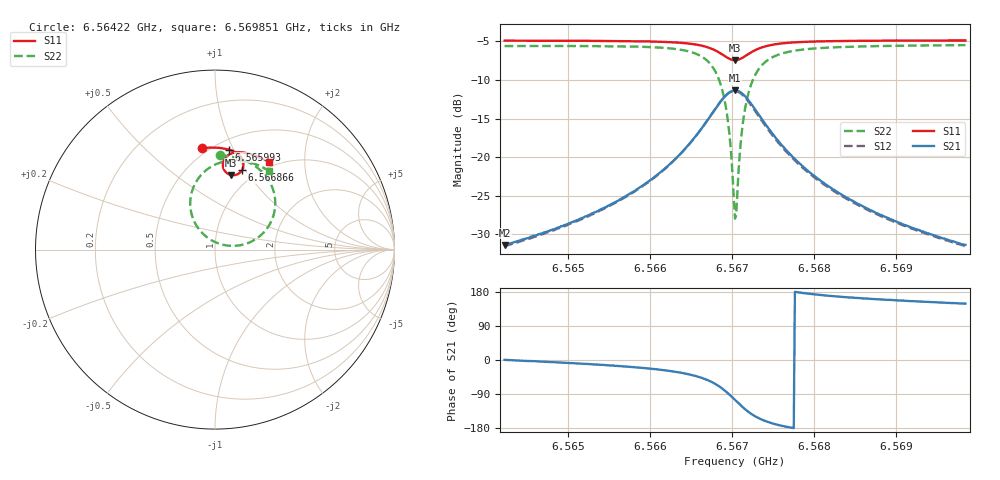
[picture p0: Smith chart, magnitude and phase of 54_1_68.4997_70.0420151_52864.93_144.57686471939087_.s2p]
#  HZ  S  RI  R  50.00
! Rohde & Schwarz Vector Network Analyzer
! Rohde-Schwarz,ZNB20-2Port,1311601062101988,3.16
! Created: UTC 3/20/2024, 5:06:06 PM
! freq[Hz]  re:S11  im:S11  re:S21  im:S21  re:S12  im:S12  re:S22  im:S22
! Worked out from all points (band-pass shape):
!   401 points, 6.56422 GHz to 6.569851 GHz, reference 50 ohm
!   highest |S21| = -11.34 dB at 6.567035 GHz (marker M1); lowest = -31.4 dB at 6.56422 GHz (marker M2)
!   |S21| within 3 dB of the highest: 6.566755 GHz to 6.567317 GHz (562.4 kHz wide, 0.00856 % of centre)
!   lowest |S11| = -7.4 dB at 6.567035 GHz (marker M3), VSWR 2.48, Z = 40.9 + j41.5 ohm
!   |S11| at or under -10 dB: nowhere
!   |S22| runs from -27.9 to -5.5 dB; largest |S21 - S12| = 0.012
!   S11 on the Smith chart (normalised r, x): 6.56422 GHz: 0.46, +0.77; 6.565993 GHz: 0.59, +0.96; 6.566866 GHz: 0.85, +0.97; 6.569851 GHz: 0.93, +1.34
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6.5642195e9  -0.0734 0.5643  0.0271 0.000212  0.0266 -0.000404  0.0259 0.5246
6.5651628e9  0.00327 0.5679  0.0399 -0.00688  0.039 -0.00733  0.1134 0.5128
6.5659933e9  0.0794 0.5566  0.0653 -0.0273  0.0642 -0.0281  0.2168 0.4698
6.566106e9  0.0909 0.5528  0.071 -0.0337  0.07 -0.0344  0.2349 0.4569
6.5664016e9  0.1241 0.5355  0.0906 -0.0626  0.0889 -0.0638  0.2908 0.3996
6.5666268e9  0.1499 0.5067  0.1047 -0.1125  0.1024 -0.1145  0.3317 0.3034
6.5667676e9  0.1586 0.4739  0.0982 -0.1699  0.094 -0.1728  0.3269 0.1941
6.5668662e9  0.1505 0.4433  0.0668 -0.2221  0.0598 -0.2249  0.2719 0.0959
6.5669084e9  0.1407 0.4306  0.0417 -0.243  0.033 -0.245  0.2259 0.0576
6.5669506e9  0.1263 0.4204  0.00873 -0.2591  -0.00165 -0.2591  0.1655 0.0302
6.5669788e9  0.1148 0.416  -0.0171 -0.2649  -0.028 -0.2633  0.1191 0.0217
6.567021e9  0.0956 0.4146  -0.0583 -0.2641  -0.0693 -0.2596  0.0462 0.0263
6.5670351e9  0.0891 0.4155  -0.0719 -0.2612  -0.0829 -0.2556  0.0224 0.0333
6.5670633e9  0.0766 0.4198  -0.0979 -0.2512  -0.1079 -0.2438  -0.0223 0.0537
6.5671055e9  0.0612 0.4305  -0.1313 -0.2278  -0.1391 -0.2184  -0.0772 0.0986
6.5671477e9  0.0502 0.4451  -0.1552 -0.1982  -0.1604 -0.1878  -0.1141 0.1535
6.567204e9  0.0439 0.4661  -0.1719 -0.1566  -0.174 -0.1463  -0.1363 0.228
6.5672744e9  0.0463 0.4896  -0.1746 -0.1107  -0.1739 -0.1018  -0.1325 0.3082
6.5675278e9  0.0846 0.5327  -0.1324 -0.0245  -0.1295 -0.0207  -0.0364 0.4521
6.5679783e9  0.1452 0.5422  -0.0772 0.00833  -0.0753 0.00946  0.0914 0.497
6.5689215e9  0.2315 0.5202  -0.0374 0.0145  -0.0363 0.0149  0.2211 0.4777
6.5698507e9  0.2992 0.4863  -0.0232 0.014  -0.0226 0.0142  0.2999 0.4399
